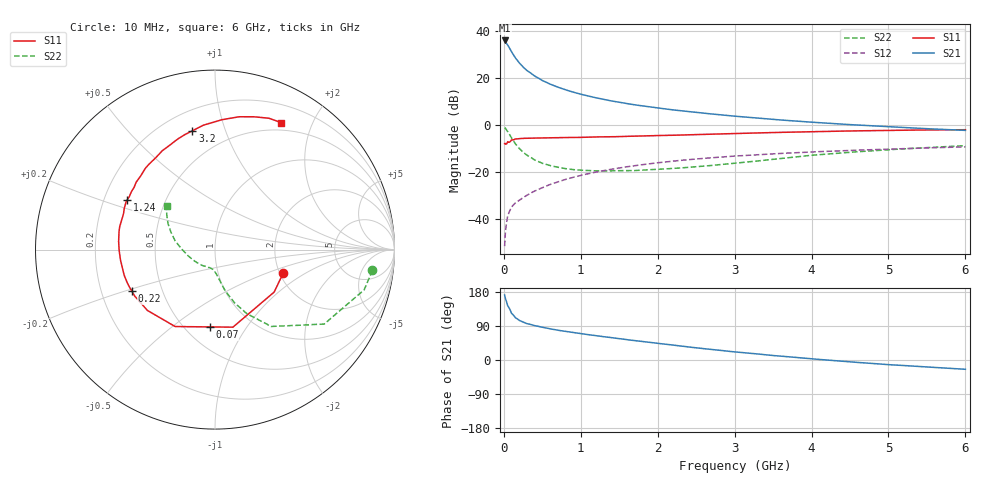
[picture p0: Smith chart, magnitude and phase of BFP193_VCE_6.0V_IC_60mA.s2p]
! Infineon Technologies  Discrete & RF Semiconductors
! BFP193
! VCE = 6.0 V,  IC =  60 mA
! Common Emitter S-Parameters:  Jan 2016
# GHz  S  MA  R  50
!  f  S11  S21  S12  S22
! GHz  MAG  ANG  MAG  ANG  MAG  ANG  MAG  ANG
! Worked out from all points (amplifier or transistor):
!   210 points, 10 MHz to 6 GHz, reference 50 ohm
!   highest |S21| = 36.2 dB at 10 MHz (marker M1)
!   |S21| within 3 dB of that: start of sweep to 68.82 MHz
!   unconditionally stable (mu >= 1): 498.6 MHz to 3.975 GHz
!   at 185 MHz: K = 0.70, MSG = 29.9 dB, |S12| = -32.4 dB
!   at 1.52 GHz: K = 1.07, MAG = 12.3 dB, |S12| = -18.2 dB
!   at 6 GHz: K = 0.95, MSG = 3.5 dB, |S12| = -9.3 dB
!   S11 on the Smith chart (normalised r, x): 10 MHz: 2.09, -0.65; 70 MHz: 0.65, -0.69; 220 MHz: 0.33, -0.21; 1.24 GHz: 0.30, +0.24; 3.2 GHz: 0.32, +0.78; 6 GHz: 0.40, +1.57
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0.01  0.4023 -18.8  64.37 171.6  0.0026 81.6  0.885 -7.5
0.02  0.4057 -35.7  61.35 162.6  0.005 76.0  0.8609 -15.1
0.05  0.4436 -77.0  51.81 143.4  0.0115 66.5  0.7364 -34.3
0.07  0.4318 -93.9  45.2 136.9  0.014 61.7  0.6458 -40.6
0.1  0.4828 -117.4  36.82 123.2  0.0178 57.1  0.5307 -53.8
0.15  0.5066 -138.0  27.19 111.7  0.0218 55.4  0.3978 -63.6
0.2  0.517 -150.0  21.41 104.6  0.0248 57.6  0.3185 -69.6
0.22  0.5179 -153.4  19.79 102.8  0.0262 57.6  0.2961 -71.1
0.26  0.5228 -159.6  16.86 99.0  0.0289 58.0  0.2561 -74.2
0.3  0.5257 -164.2  14.69 96.0  0.0318 59.4  0.2286 -76.6
0.4  0.5297 -173.6  11.21 90.7  0.039 62.2  0.1809 -80.6
0.5  0.5342 -179.6  8.994 86.3  0.046 63.4  0.1532 -83.6
0.6  0.5389 175.1  7.537 82.3  0.0539 64.4  0.1368 -86.7
0.7  0.5438 170.1  6.493 78.6  0.0612 64.5  0.1259 -89.5
1.02  0.5491 157.9  4.491 69.2  0.0859 63.1  0.1089 -97.9
1.24  0.5619 150.3  3.71 63.1  0.1027 61.2  0.1052 -104.7
2.02  0.6008 128.1  2.301 43.6  0.1584 51.9  0.1143 -131.6
3.1  0.6679 102.7  1.506 19.6  0.2232 37.9  0.1592 -170.2
3.2  0.6739 100.8  1.458 17.8  0.2283 36.6  0.1653 -173.3
4.1  0.7294 85.4  1.129 1.5  0.2718 25.8  0.2339 165.6
5.1  0.7743 72.5  0.91 -13.4  0.3111 14.7  0.3051 149.6
6  0.7979 62.5  0.773 -24.5  0.3435 5.2  0.364 137.8
